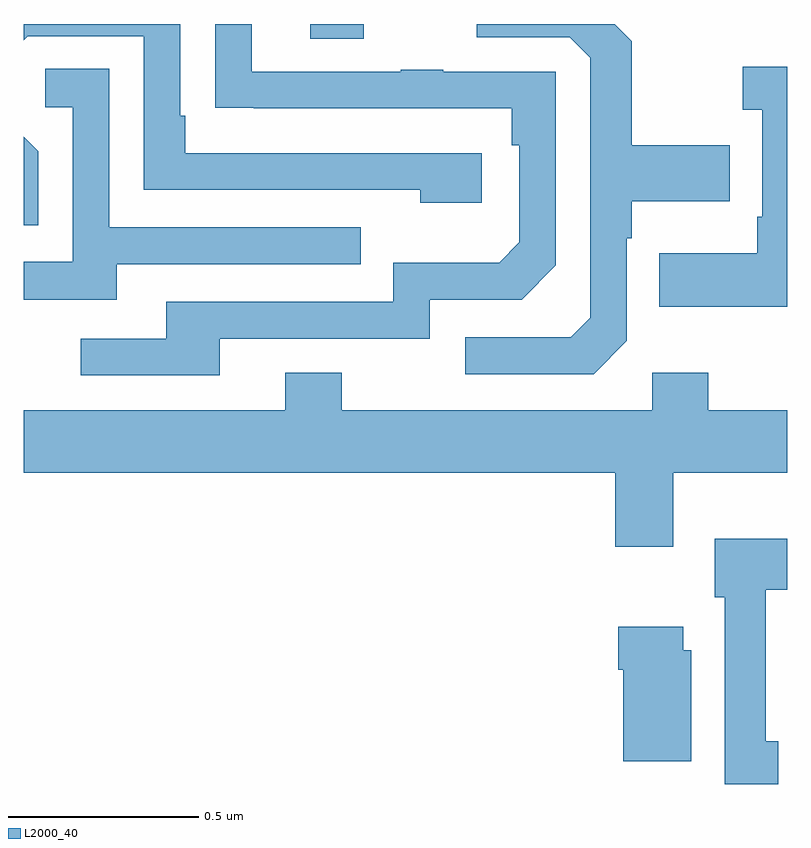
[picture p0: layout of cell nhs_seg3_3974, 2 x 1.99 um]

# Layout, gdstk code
import gdstk
lib = gdstk.Library(unit=1e-6, precision=1e-09)
def R(c, l, rs):  # rectangles x0, y0, x1, y1
    for r in rs: c.add(gdstk.rectangle(r[:2], r[2:], *l))
def P(c, l, *ps):  # polygons
    for p in ps: c.add(gdstk.Polygon(p, *l))
L2000_40 = (2000, 40)

nhs_seg3_3974 = lib.new_cell('nhs_seg3_3974')
R(nhs_seg3_3974, L2000_40, [(160.751,727.362,160.891,727.4)])
P(nhs_seg3_3974, L2000_40, [(161.2,727.062),(160.423,727.062),(160.423,727.159),(160.41,727.159),(160.41,727.4),(160,727.4),(160,727.357),(160.011,727.368),(160.314,727.368),(160.314,726.966),(161.039,726.966),(161.039,726.932),(161.2,726.932)],
  [(161.58,726.57),(161.58,726.839),(161.593,726.839),(161.593,726.935),(161.849,726.935),(161.849,727.083),(161.593,727.083),(161.593,727.355),(161.548,727.4),(161.187,727.4),(161.187,727.365),(161.43,727.365),(161.484,727.311),(161.484,726.63),(161.433,726.579),(161.157,726.579),(161.157,726.483),(161.493,726.483)],
  [(160.513,726.576),(161.064,726.576),(161.064,726.678),(161.304,726.678),(161.394,726.768),(161.394,727.275),(161.099,727.275),(161.099,727.28),(160.987,727.28),(160.987,727.275),(160.597,727.275),(160.597,727.399),(160.501,727.399),(160.501,727.18),(160.603,727.18),(160.603,727.179),(161.278,727.179),(161.278,727.082),(161.298,727.082),(161.298,726.828),(161.245,726.775),(160.968,726.775),(160.968,726.672),(160.373,726.672),(160.373,726.576),(160.149,726.576),(160.149,726.48),(160.513,726.48)],
  [(162,727.288),(161.883,727.288),(161.883,727.175),(161.934,727.175),(161.934,726.895),(161.922,726.895),(161.922,726.799),(161.665,726.799),(161.665,726.659),(162,726.659)],
  [(160.243,726.771),(160.883,726.771),(160.883,726.867),(160.224,726.867),(160.224,727.283),(160.056,727.283),(160.056,727.182),(160.128,727.182),(160.128,726.777),(160,726.777),(160,726.677),(160.243,726.677)],
  [(160.038,727.066),(160,727.104),(160,726.873),(160.038,726.873)],
  [(161.701,726.224),(162,726.224),(162,726.388),(161.793,726.388),(161.793,726.487),(161.646,726.487),(161.646,726.388),(160.833,726.388),(160.833,726.487),(160.685,726.487),(160.685,726.388),(160,726.388),(160,726.224),(161.549,726.224),(161.549,726.03),(161.701,726.03)],
  [(161.977,725.521),(161.944,725.521),(161.944,725.918),(162,725.918),(162,726.052),(161.81,726.052),(161.81,725.898),(161.837,725.898),(161.837,725.409),(161.977,725.409)],
  [(161.749,725.76),(161.728,725.76),(161.728,725.821),(161.558,725.821),(161.558,725.708),(161.57,725.708),(161.57,725.468),(161.749,725.468)])

lib.write_gds('nhs_seg3_3974.gds')
